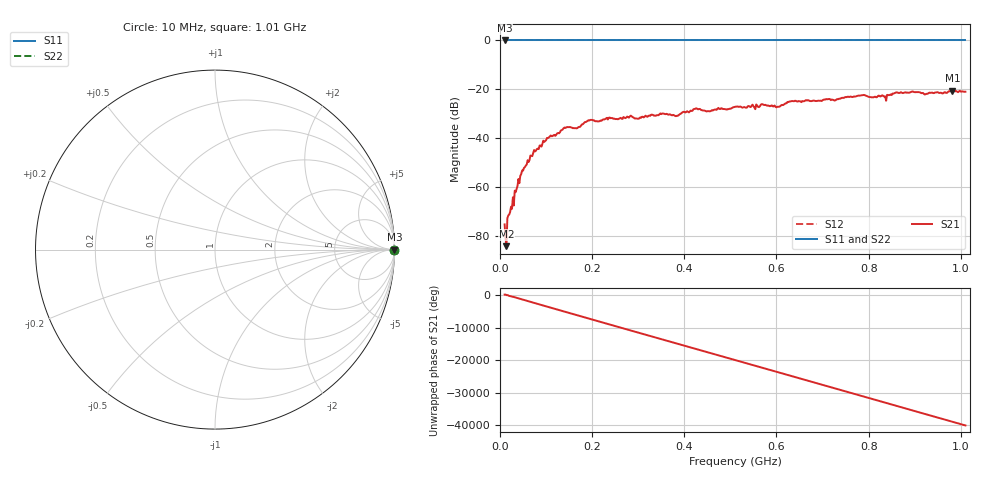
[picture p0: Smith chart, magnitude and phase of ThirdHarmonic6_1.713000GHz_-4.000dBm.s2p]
! 8/16/2025 8:36:16 PM
! C:\ANRITSUVNA\TEMP\TEMP.S2P
! CHANNEL.1
! TR.MEASUREMENT
! RAW.DATA
! RF.CORRECTION.OFF
! AVERAGING.OFF
! IF.BANDWIDTH: 5KHZ
! SWEEPTYPE:  FREQ.SWEEP(Linear)
! Reference Plane Port Info
! PORT:  PORT1  PORT2
! DISTANCE:  0  m  0  m
! TIME:  0  s  0  s
! PHASE.OFFSET:  0  deg.  0  deg.
! LOSS:  0  dB  0  dB
! REF.LOSS:  0  dB  0  dB
! REF.FREQ:  0  Hz  0  Hz
! Power Info
! POWER:  -20  dBm  -20  dBm
! EFF.POWER:  -20  dBm  -20  dBm
! SOURCE.ATTEN:  0  dB  0  dB
! TEST.ATTEN:  0  dB  0  dB
# GHZ S RI R 50.0
! FREQ.GHZ  S11RE  S11IM  S21RE  S21IM  S12RE  S12IM  S22RE  S22IM
!; PortSelection: Port_12
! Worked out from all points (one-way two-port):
!   501 points, 10 MHz to 1.01 GHz, reference 50 ohm
!   highest |S21| = -20.61 dB at 982 MHz (marker M1); lowest = -84.3 dB at 14 MHz (marker M2)
!   lowest |S11| = 0.0 dB at 10 MHz (marker M3)
!   |S11| at or under -10 dB: nowhere
!   |S22| runs from 0.0 to 0.0 dB; largest |S21 - S12| = 1.1
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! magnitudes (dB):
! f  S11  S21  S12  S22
! 10 MHz  0.0  -75.3  0.0  0.0
! 14 MHz  0.0  -84.3  0.0  0.0
! 20 MHz  0.0  -71.3  0.0  0.0
! 44 MHz  0.0  -55.4  0.0  0.0
! 70 MHz  0.0  -47.4  0.0  0.0
! 106 MHz  0.0  -39.7  0.0  0.0
! 142 MHz  0.0  -35.8  0.0  0.0
! 164 MHz  0.0  -35.9  0.0  0.0
! 178 MHz  0.0  -34.4  0.0  0.0
! 196 MHz  0.0  -32.5  0.0  0.0
! 344 MHz  0.0  -30.6  0.0  0.0
! 384 MHz  0.0  -30.8  0.0  0.0
! 424 MHz  0.0  -28.0  0.0  0.0
! 452 MHz  0.0  -29.0  0.0  0.0
! 510 MHz  0.0  -27.2  0.0  0.0
! 570 MHz  0.0  -26.1  0.0  0.0
! 602 MHz  0.0  -27.2  0.0  0.0
! 632 MHz  0.0  -24.9  0.0  0.0
! 678 MHz  0.0  -24.7  0.0  0.0
! 844 MHz  0.0  -22.4  0.0  0.0
! 982 MHz  0.0  -20.6  0.0  0.0
! 1.01 GHz  0.0  -21.0  0.0  0.0
